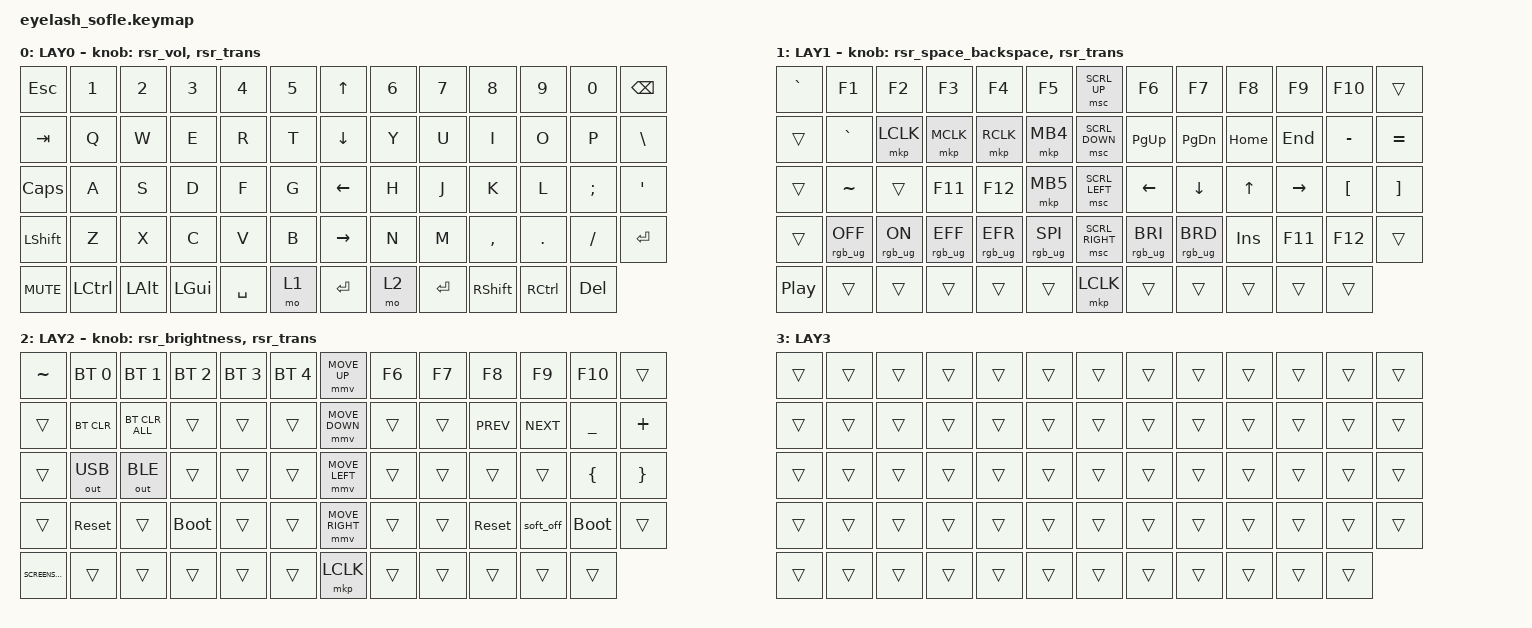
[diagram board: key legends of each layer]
#define ZMK_POINTING_DEFAULT_MOVE_VAL 1200  // 600
#define ZMK_POINTING_DEFAULT_SCRL_VAL 35    // 10

#include <input/processors.dtsi>
#include <zephyr/dt-bindings/input/input-event-codes.h>
#include <behaviors.dtsi>
#include <dt-bindings/zmk/bt.h>
#include <dt-bindings/zmk/keys.h>
#include <dt-bindings/zmk/outputs.h>
#include <dt-bindings/zmk/pointing.h>
#include <dt-bindings/zmk/rgb.h>
#include <behaviors/runtime-sensor-rotate.dtsi>

/ {
    zip_scroll_scaler: zip_scroll_scaler {
        compatible = "zmk,input-processor-scaler";
        #input-processor-cells = <2>;
        type = <INPUT_EV_REL>;
        codes = <INPUT_REL_WHEEL INPUT_REL_HWHEEL>;
        track-remainders;
    };
};

&mmv_input_listener { input-processors = <&zip_xy_scaler 2 1>; };

&msc_input_listener { input-processors = <&zip_scroll_scaler 2 1>; };

&msc {
    acceleration-exponent = <0>;      // 0
    time-to-max-speed-ms = <0>;       // 300
    delay-ms = <0>;                   // 0
};

&mmv {
    time-to-max-speed-ms = <400>;
    acceleration-exponent = <1>;
};

/ {
    behaviors {
        rsr_vol: rsr_vol {
            compatible = "zmk,behavior-runtime-sensor-rotate";
            #sensor-binding-cells = <0>;
            tap-ms = <5>;
            cw-binding = <&kp C_VOL_UP>;
            ccw-binding = <&kp C_VOL_DN>;
        };

        rsr_space_backspace: rsr_space_backspace {
            compatible = "zmk,behavior-runtime-sensor-rotate";
            #sensor-binding-cells = <0>;
            tap-ms = <5>;
            cw-binding = <&kp SPACE>;
            ccw-binding = <&kp BACKSPACE>;
        };

        rsr_brightness: rsr_brightness {
            compatible = "zmk,behavior-runtime-sensor-rotate";
            #sensor-binding-cells = <0>;
            tap-ms = <5>;
            cw-binding = <&kp C_BRI_INC>;
            ccw-binding = <&kp C_BRI_DEC>;
        };

        rsr_trans: rsr_trans {
            compatible = "zmk,behavior-runtime-sensor-rotate";
            #sensor-binding-cells = <0>;
            tap-ms = <0>;
        };
    };

    macros {
        shift_MB3: shift_MB3 {
            compatible = "zmk,behavior-macro";
            #binding-cells = <0>;
            bindings =
                <&macro_press>,
                <&kp LEFT_SHIFT>,
                <&macro_press>,
                <&mkp MB3>,
                <&macro_pause_for_release>,
                <&macro_release>,
                <&mkp MB3 &kp LEFT_SHIFT>;

            label = "SHIFT_MB3";
        };
    };

    keymap {
        compatible = "zmk,keymap";

        layer0 {
            bindings = <
&kp ESC     &kp N1     &kp N2    &kp N3        &kp N4     &kp N5    &kp UP_ARROW     &kp N6  &kp N7     &kp N8      &kp N9     &kp N0      &kp BACKSPACE
&kp TAB     &kp Q      &kp W     &kp E         &kp R      &kp T     &kp DOWN_ARROW   &kp Y   &kp U      &kp I       &kp O      &kp P       &kp BSLH
&kp CAPS    &kp A      &kp S     &kp D         &kp F      &kp G     &kp LEFT_ARROW   &kp H   &kp J      &kp K       &kp L      &kp SEMI    &kp APOS
&kp LSHFT   &kp Z      &kp X     &kp C         &kp V      &kp B     &kp RIGHT_ARROW  &kp N   &kp M      &kp COMMA   &kp DOT    &kp FSLH    &kp ENTER
&kp C_MUTE  &kp LCTRL  &kp LALT  &kp LEFT_GUI  &kp SPACE  &mo 1     &kp ENTER        &mo 2   &kp ENTER  &kp RSHIFT  &kp RCTRL  &kp DELETE
            >;
            sensor-bindings = <&rsr_vol &rsr_trans>;

            display-name = "LAY0";
        };

        layer_1 {
            bindings = <
&kp GRAVE         &kp F1           &kp F2          &kp F3           &kp F4           &kp F5             &msc SCRL_UP     &kp F6           &kp F7           &kp F8      &kp F9     &kp F10           &trans
&trans            &kp GRAVE        &mkp LCLK       &mkp MCLK        &mkp RCLK        &mkp MB4           &msc SCRL_DOWN   &kp PG_UP        &kp PG_DN        &kp HOME    &kp END    &kp MINUS         &kp EQUAL
&trans            &kp TILDE        &trans          &kp F11          &kp F12          &mkp MB5           &msc SCRL_LEFT   &kp LEFT         &kp DOWN         &kp UP      &kp RIGHT  &kp LEFT_BRACKET  &kp RIGHT_BRACKET
&trans            &rgb_ug RGB_OFF  &rgb_ug RGB_ON  &rgb_ug RGB_EFF  &rgb_ug RGB_EFR  &rgb_ug RGB_SPI    &msc SCRL_RIGHT  &rgb_ug RGB_BRI  &rgb_ug RGB_BRD  &kp INSERT  &kp F11    &kp F12           &trans
&kp C_PLAY_PAUSE  &trans           &trans          &trans           &trans           &trans             &mkp LCLK        &trans           &trans           &trans      &trans     &trans
            >;

            display-name = "LAY1";
            sensor-bindings = <&rsr_space_backspace &rsr_trans>;

        };

        layer_2 {
            bindings = <
&kp TILDE          &bt BT_SEL 0  &bt BT_SEL 1    &bt BT_SEL 2  &bt BT_SEL 3  &bt BT_SEL 4    &mmv MOVE_UP     &kp F6  &kp F7  &kp F8      &kp F9      &kp F10      &trans
&trans             &bt BT_CLR    &bt BT_CLR_ALL  &trans        &trans        &trans          &mmv MOVE_DOWN   &trans  &trans  &kp C_PREV  &kp C_NEXT  &kp UNDER    &kp PLUS
&trans             &out OUT_USB  &out OUT_BLE    &trans        &trans        &trans          &mmv MOVE_LEFT   &trans  &trans  &trans      &trans      &kp LBRC     &kp RBRC
&trans             &sys_reset    &trans          &bootloader   &trans        &trans          &mmv MOVE_RIGHT  &trans  &trans  &sys_reset  &soft_off   &bootloader  &trans
&kp K_SCREENSAVER  &trans        &trans          &trans        &trans        &trans          &mkp LCLK        &trans  &trans  &trans      &trans      &trans
            >;
             display-name = "LAY2";
            sensor-bindings = <&rsr_brightness &rsr_trans>;
        };

        layer_3 {
            bindings = <
&trans  &trans  &trans  &trans  &trans  &trans    &trans  &trans  &trans  &trans  &trans  &trans  &trans
&trans  &trans  &trans  &trans  &trans  &trans    &trans  &trans  &trans  &trans  &trans  &trans  &trans
&trans  &trans  &trans  &trans  &trans  &trans    &trans  &trans  &trans  &trans  &trans  &trans  &trans
&trans  &trans  &trans  &trans  &trans  &trans    &trans  &trans  &trans  &trans  &trans  &trans  &trans
&trans  &trans  &trans  &trans  &trans  &trans    &trans  &trans  &trans  &trans  &trans  &trans
            >;
   display-name = "LAY3";
        };
    };

    conditional_layers {
        compatible = "zmk,conditional-layers";

        LAY3 {
            if-layers = <1 2>;
            then-layer = <3>;
        };
    };
};
